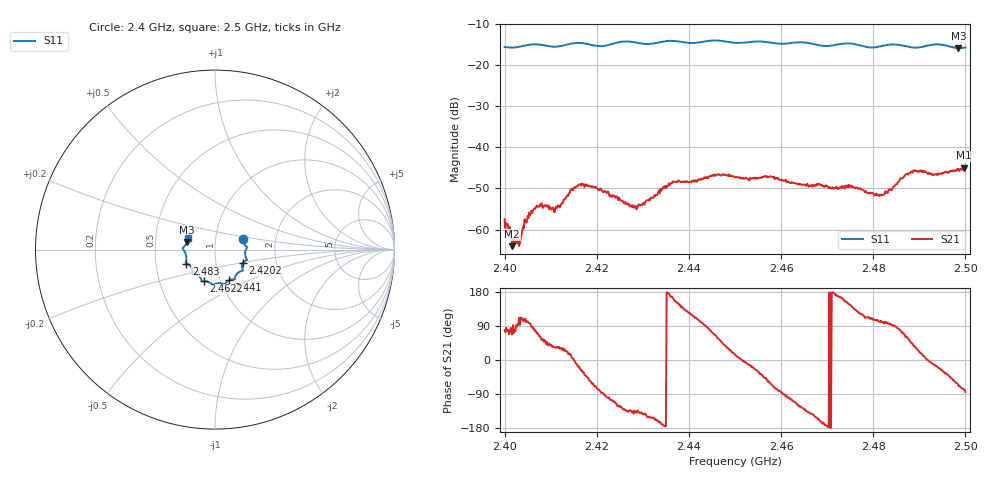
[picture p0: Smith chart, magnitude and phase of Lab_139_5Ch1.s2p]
# Hz S RI R 50
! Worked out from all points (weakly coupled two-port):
!   601 points, 2.4 GHz to 2.5 GHz, reference 50 ohm
!   highest |S21| = -44.90 dB at 2.4997 GHz (marker M1); lowest = -64.1 dB at 2.4017 GHz (marker M2)
!   lowest |S11| = -15.8 dB at 2.4985 GHz (marker M3), VSWR 1.39, Z = 36.4 + j3.12 ohm
!   |S11| at or under -10 dB: start of sweep to end of sweep
!   S12 and S22 are empty: the file has one direction only
!   S11 on the Smith chart (normalised r, x): 2.4 GHz: 1.36, +0.17; 2.4202 GHz: 1.35, -0.20; 2.441 GHz: 1.09, -0.39; 2.4622 GHz: 0.83, -0.30; 2.483 GHz: 0.72, -0.12; 2.5 GHz: 0.73, +0.09
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2.4e9  0.1563 0.0603  0.000261 0.00131  0 0  0 0
2.401667e9  0.1595 0.0403  0.000241 0.000579  0 0  0 0
2.403167e9  0.1666 0.0253  -0.000231 0.000584  0 0  0 0
2.404833e9  0.1756 0.0163  -0.000268 0.00121  0 0  0 0
2.406667e9  0.1795 0.0125  0.000357 0.00175  0 0  0 0
2.411333e9  0.1674 -0.0226  0.00151 0.00105  0 0  0 0
2.416667e9  0.1776 -0.0584  0.00301 -0.00164  0 0  0 0
2.420167e9  0.156 -0.0719  0.000806 -0.00305  0 0  0 0
2.428167e9  0.1501 -0.1181  -0.00128 -0.00133  0 0  0 0
2.433333e9  0.1128 -0.1523  -0.00264 -0.000947  0 0  0 0
2.436667e9  0.1094 -0.1655  -0.00361 0.00128  0 0  0 0
2.441e9  0.0768 -0.1705  -0.00161 0.00351  0 0  0 0
2.45e9  0.0266 -0.1862  0.00418 0.0011  0 0  0 0
2.462167e9  -0.0629 -0.1763  -0.000842 -0.00356  0 0  0 0
2.466667e9  -0.0765 -0.167  -0.00265 -0.00204  0 0  0 0
2.483e9  -0.159 -0.0779  -0.000377 0.00279  0 0  0 0
2.483333e9  -0.1607 -0.0774  -0.000281 0.00303  0 0  0 0
2.488667e9  -0.1598 -0.0396  0.00401 0.00332  0 0  0 0
2.4935e9  -0.1798 0.00518  0.00454 -0.00121  0 0  0 0
2.4985e9  -0.1564 0.0418  0.00203 -0.00508  0 0  0 0
2.499667e9  -0.1531 0.058  0.00121 -0.00556  0 0  0 0
2.5e9  -0.153 0.0627  0.000512 -0.00545  0 0  0 0
